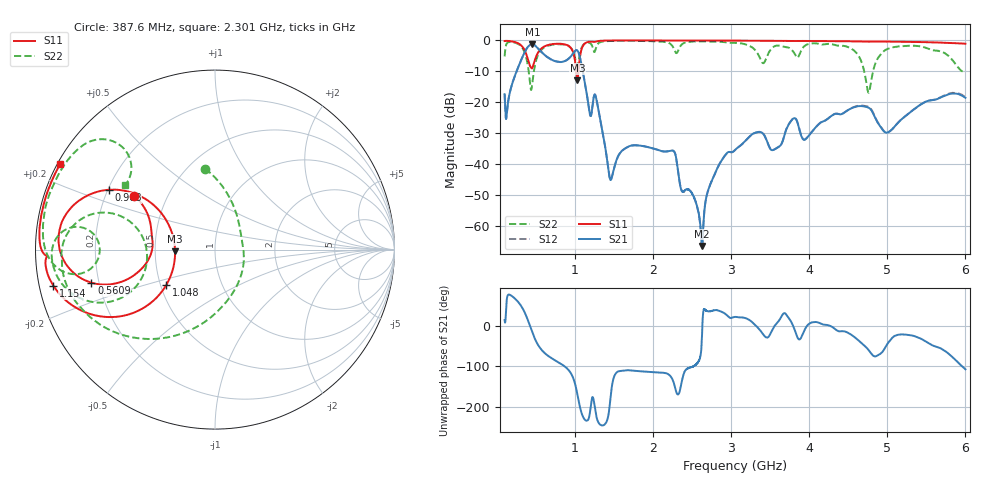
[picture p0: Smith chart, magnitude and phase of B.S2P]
!Agilent Technologies,E5071C,MY46100297,A.09.30
!Date: Thu May 15 13:59:38 2014
!Data & Calibration Information:
!Freq	S11:SOLT2(ON)	S31:SOLT2(ON)	S13:SOLT2(ON)	S33:SOLT2(ON)
# Hz S dB R 50
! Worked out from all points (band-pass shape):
!   16001 points, 100 MHz to 6 GHz, reference 50 ohm
!   highest |S21| = -1.21 dB at 454.7 MHz (marker M1); lowest = -66.5 dB at 2.629 GHz (marker M2)
!   |S21| within 3 dB of the highest: 351.2 MHz to 586.6 MHz (235.4 MHz wide, 50.2 % of centre); 980.4 MHz to 1.049 GHz (69.04 MHz wide, 6.8 % of centre)
!   lowest |S11| = -13.0 dB at 1.032 GHz (marker M3), VSWR 1.57, Z = 31.8 - j0.592 ohm
!   |S11| at or under -10 dB: 1.017 GHz to 1.046 GHz (29.08 MHz wide, 2.82 % of centre)
!   |S22| runs from -17.0 to -0.2 dB; largest |S21 - S12| = 0.0054
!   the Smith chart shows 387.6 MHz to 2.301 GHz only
!   S11 on the Smith chart (normalised r, x): 387.6 MHz: 0.32, +0.27; 560.9 MHz: 0.17, -0.13; 968 MHz: 0.20, +0.25; 1.048 GHz: 0.54, -0.24; 1.154 GHz: 0.04, -0.11; 2.301 GHz: 0.01, +0.26
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1e8  -0.29 -178.1  -17.49 14.2  -17.52 14.6  -5.28 -38.6
1.774375e8  -0.35 172.3  -15.85 75.6  -15.83 75.6  -0.59 -178.9
3.87625e8  -5.32 146.3  -2.54 19.2  -2.54 19.3  -6.84 96.9
4.547375e8  -9.03 -177.9  -1.21 -15.3  -1.21 -15.3  -13.94 -42.9
5.609375e8  -2.94 -165.0  -3.57 -56.2  -3.56 -56.2  -3.43 -133.6
9.680375e8  -3.35 150.6  -4.64 -124.1  -4.63 -124.1  -3.22 162.9
1.0322e9  -13.05 -177.7  -3.37 -169.1  -3.37 -169.2  -8.38 -173.1
1.047688e9  -9.50 -144.0  -4.09 175.4  -4.08 175.4  -6.70 -156.5
1.083456e9  -3.08 -147.6  -7.78 146.1  -7.78 146.1  -2.57 -156.9
1.153888e9  -0.70 -167.4  -17.68 126.1  -17.66 126.1  -0.85 -174.7
1.275575e9  -0.42 -178.5  -19.13 135.9  -19.10 136.0  -2.09 -170.0
1.458106e9  -0.13 172.1  -45.21 -173.9  -45.20 -173.8  -0.28 171.9
2.066912e9  -0.12 156.0  -35.52 -115.1  -35.52 -115.2  -0.41 146.1
2.301438e9  -0.13 151.1  -38.84 -165.1  -38.83 -164.8  -4.21 144.4
2.628888e9  -0.16 144.3  -66.51 -16.0  -66.61 -18.1  -0.41 136.4
3.05e9  -0.17 135.4  -35.53 22.2  -35.56 22.2  -0.89 118.2
4.033456e9  -0.28 112.6  -29.65 8.4  -29.66 8.4  -1.05 110.7
4.6253e9  -0.43 95.3  -21.35 -34.9  -21.23 -34.1  -4.80 36.2
4.762106e9  -0.49 91.1  -21.85 -60.0  -21.59 -59.9  -17.01 -89.5
5.016912e9  -0.48 81.7  -29.71 -40.3  -29.65 -41.3  -2.68 123.3
5.723438e9  -0.85 46.2  -18.10 -60.2  -17.96 -60.1  -4.04 24.8
6e9  -1.17 26.0  -18.66 -107.1  -18.43 -108.9  -10.10 -106.0
